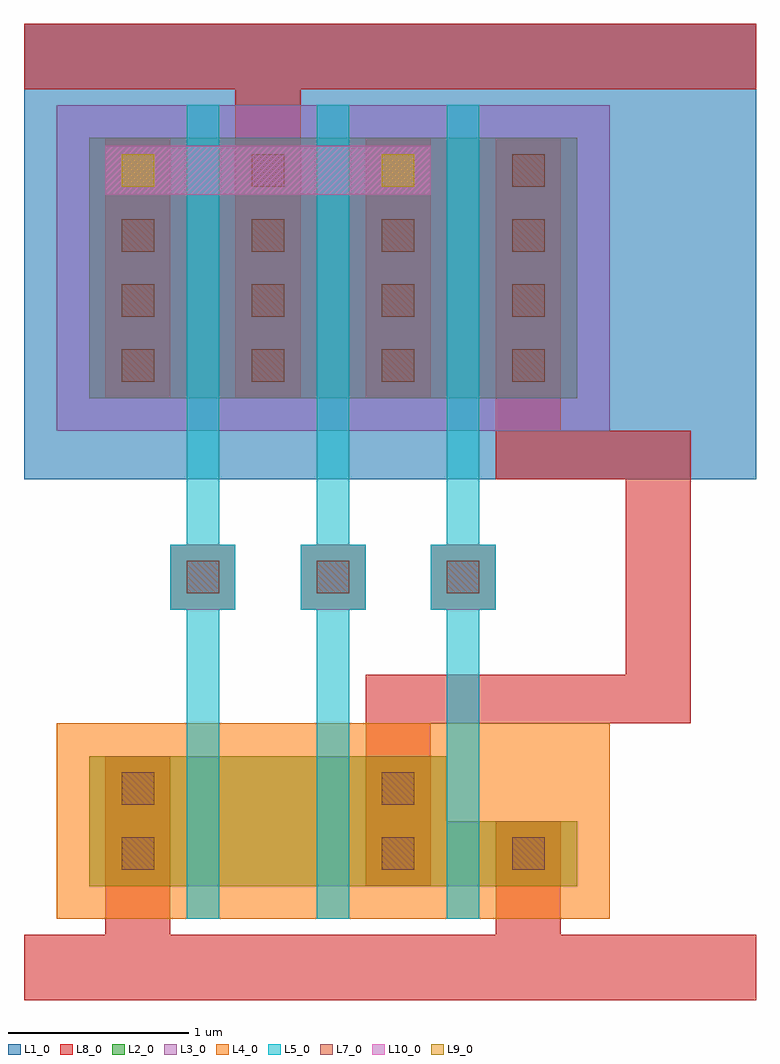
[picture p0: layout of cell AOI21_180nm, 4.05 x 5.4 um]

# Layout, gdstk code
import gdstk
lib = gdstk.Library(unit=1e-6, precision=1e-12)
def R(c, l, rs):  # rectangles x0, y0, x1, y1
    for r in rs: c.add(gdstk.rectangle(r[:2], r[2:], *l))
def A(c, l, x, y, w, h, nx, ny, dx, dy):  # array of equal rectangles
    R(c, l, [(x+i*dx, y+j*dy, x+i*dx+w, y+j*dy+h) for i in range(nx) for j in range(ny)])
L1_0 = (1, 0)
L2_0 = (2, 0)
L3_0 = (3, 0)
L4_0 = (4, 0)
L5_0 = (5, 0)
L7_0 = (7, 0)
L8_0 = (8, 0)
L9_0 = (9, 0)
L10_0 = (10, 0)

aoi21_180nm = lib.new_cell('AOI21_180nm')
R(aoi21_180nm, L1_0, [(0,2.88,4.05,5.4)])
A(aoi21_180nm, L2_0, 0.36, 0.63, 0.54, 0.72, 3, 1, 0.72, 0)
A(aoi21_180nm, L2_0, 0.36, 3.33, 0.54, 1.44, 4, 1, 0.72, 0)
A(aoi21_180nm, L2_0, 0.9, 3.33, 0.18, 1.44, 3, 1, 0.72, 0)
R(aoi21_180nm, L2_0, [(0.9,0.63,1.08,1.35), (1.62,0.63,1.8,1.35), (2.34,0.63,2.52,0.99), (2.52,0.63,3.06,0.99)])
R(aoi21_180nm, L3_0, [(0.18,3.15,3.24,4.95)])
R(aoi21_180nm, L4_0, [(0.18,0.45,3.24,1.53)])
A(aoi21_180nm, L5_0, 0.9, 0.45, 0.18, 4.5, 3, 1, 0.72, 0)
A(aoi21_180nm, L5_0, 0.81, 2.16, 0.36, 0.36, 3, 1, 0.72, 0)
A(aoi21_180nm, L7_0, 0.9, 2.25, 0.18, 0.18, 3, 1, 0.72, 0)
A(aoi21_180nm, L7_0, 0.54, 3.42, 0.18, 0.18, 4, 4, 0.72, 0.36)
R(aoi21_180nm, L7_0, [(0.54,0.72,0.72,0.9), (1.98,0.72,2.16,0.9), (2.7,0.72,2.88,0.9), (0.54,1.08,0.72,1.26), (1.98,1.08,2.16,1.26)])
A(aoi21_180nm, L8_0, 0.81, 2.16, 0.36, 0.36, 3, 1, 0.72, 0)
R(aoi21_180nm, L8_0, [(0,0,4.05,0.36), (0.45,0,0.81,1.35), (2.61,0,2.97,0.99), (1.89,0.63,2.25,1.8), (1.89,1.53,3.69,1.8), (3.33,1.53,3.69,3.15), (2.61,2.88,2.97,4.77), (2.61,2.88,3.69,3.15), (0.45,3.33,0.81,4.77), (1.17,3.33,1.53,5.4), (1.89,3.33,2.25,4.77), (0,5.04,4.05,5.4)])
R(aoi21_180nm, L9_0, [(0.54,4.5,0.72,4.68), (1.98,4.5,2.16,4.68)])
R(aoi21_180nm, L10_0, [(0.45,4.455,2.25,4.725)])

lib.write_gds('AOI21_180nm.gds')
